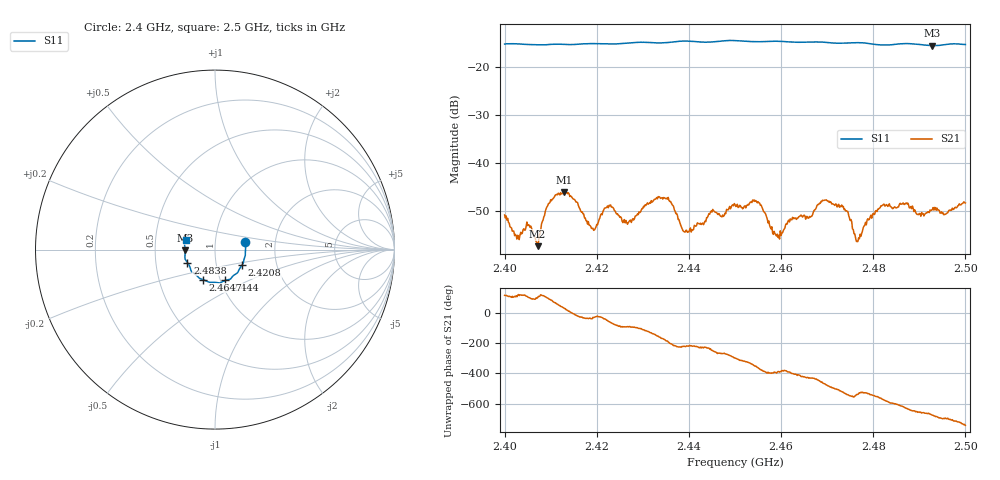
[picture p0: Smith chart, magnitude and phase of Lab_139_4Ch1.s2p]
# Hz S RI R 50
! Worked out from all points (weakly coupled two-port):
!   601 points, 2.4 GHz to 2.5 GHz, reference 50 ohm
!   highest |S21| = -46.15 dB at 2.4128 GHz (marker M1); lowest = -57.4 dB at 2.4072 GHz (marker M2)
!   lowest |S11| = -15.6 dB at 2.4928 GHz (marker M3), VSWR 1.40, Z = 35.8 - j0.349 ohm
!   |S11| at or under -10 dB: start of sweep to end of sweep
!   S12 and S22 are empty: the file has one direction only
!   S11 on the Smith chart (normalised r, x): 2.4 GHz: 1.40, +0.12; 2.4208 GHz: 1.33, -0.24; 2.444 GHz: 1.06, -0.37; 2.4647 GHz: 0.83, -0.29; 2.4838 GHz: 0.73, -0.11; 2.5 GHz: 0.72, +0.08
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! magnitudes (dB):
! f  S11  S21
! 2.4 GHz  -15.3  -50.9
! 2.4072 GHz  -15.4  -57.4
! 2.4095 GHz  -15.4  -48.5
! 2.4128 GHz  -15.3  -46.2
! 2.4167 GHz  -15.2  -50.3
! 2.4192 GHz  -15.2  -53.7
! 2.4208 GHz  -15.2  -50.9
! 2.427 GHz  -15.0  -52.3
! 2.4333 GHz  -15.0  -47.1
! 2.4392 GHz  -14.6  -54.5
! 2.444 GHz  -14.9  -51.4
! 2.45 GHz  -14.5  -48.7
! 2.455 GHz  -14.8  -48.1
! 2.4592 GHz  -14.7  -54.9
! 2.4647 GHz  -14.9  -51.3
! 2.4667 GHz  -14.8  -51.1
! 2.473 GHz  -15.1  -49.2
! 2.4767 GHz  -15.0  -56.4
! 2.4833 GHz  -15.5  -48.9
! 2.4838 GHz  -15.4  -49.2
! 2.4928 GHz  -15.6  -49.7
! 2.5 GHz  -15.4  -48.4
